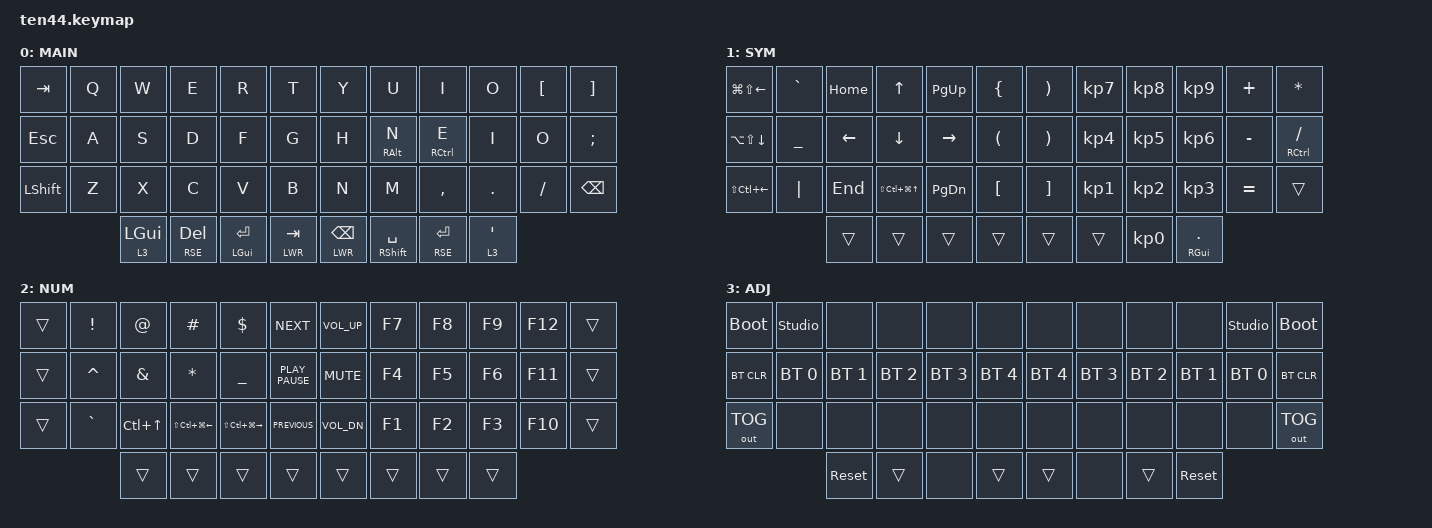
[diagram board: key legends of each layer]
/*
 * Copyright (c) 2020 The ZMK Contributors
 *
 * SPDX-License-Identifier: MIT
 */

#include <behaviors.dtsi>
#include <dt-bindings/zmk/bt.h>
#include <dt-bindings/zmk/keys.h>
#include <dt-bindings/zmk/outputs.h>

#define DEF 0
#define LWR 1
#define RSE 2
#define ADJ 3

&lt { quick-tap-ms = <200>; }; 
&mt { quick-tap-ms = <200>; };

/ {
    conditional_layers {
        compatible = "zmk,conditional-layers";

        tri_layer {
            if-layers = <LWR RSE>;
            then-layer = <ADJ>;
        };
    };

    keymap {
        compatible = "zmk,keymap";

        default_layer {
            display-name = "MAIN";

// ┏━━━━━━━━━━━┳━━━━━━━━━━━┳━━━━━━━━━━━┳━━━━━━━━━━━┳━━━━━━━━━━━┓━━━━━━━━━━━┓                              ┏━━━━━━━━━━━┳━━━━━━━━━━━┳━━━━━━━━━━━┳━━━━━━━━━━━┳━━━━━━━━━━━┳━━━━━━━━━━━┓
// ┃     TAB   ┃     Q     ┃     W     ┃     R     ┃     T     ┃     Y     ┃                              ┃     J     ┃     L     ┃     U     ┃     Y     ┃     [     ┃    ]      ┃
// ┣━━━━━━━━━━━╋━━━━━━━━━━━╋━━━━━━━━━━━╋━━━━━━━━━━━╋━━━━━━━━━━━┫━━━━━━━━━━━┫                              ┣━━━━━━━━━━━╋━━━━━━━━━━━╋━━━━━━━━━━━╋━━━━━━━━━━━╋━━━━━━━━━━━╋━━━━━━━━━━━┫
// ┃     ESC   ┃     A     ┃     R     ┃     S     ┃     T     ┃     G     ┃                              ┃     H     ┃     N     ┃     E     ┃     I     ┃     O     ┃    ;      ┃
// ┣━━━━━━━━━━━╋━━━━━━━━━━━╋━━━━━━━━━━━╋━━━━━━━━━━━╋━━━━━━━━━━━╋━━━━━━━━━━━┫                              ┣━━━━━━━━━━━╋━━━━━━━━━━━╋━━━━━━━━━━━╋━━━━━━━━━━━╋━━━━━━━━━━━╋━━━━━━━━━━━┫
// ┃  L_SHIFT  ┃     Z     ┃     X     ┃     C     ┃     D     ┃     V     ┃                              ┃     K     ┃     M     ┃     ,     ┃     .     ┃     /     ┃   BKSPC   ┃
// ┗━━━━━━━━━━━┻━━━━━━━━━━━╋━━━━━━━━━━━╋━━━━━━━━━━━╋━━━━━━━━━━━╋━━━━━━━━━━━╋━━━━━━━━━━━┓      ┏━━━━━━━━━━━╋━━━━━━━━━━━╋━━━━━━━━━━━╋━━━━━━━━━━━╋━━━━━━━━━━━╋━━━━━━━━━━━┻━━━━━━━━━━━┛
//                         ┃    ⌘/L3   ┃           ┃   DEL/L2  ┃    ENT/⌘  ┃   TAB/L1  ┃      ┃  BKSPC/L1 ┃ SPC/R_SHFT┃   ENT/L2  ┃           ┃     '     ┃  
//                         ┗━━━━━━━━━━━┛           ┗━━━━━━━━━━━┻━━━━━━━━━━━┻━━━━━━━━━━━┛      ┗━━━━━━━━━━━┻━━━━━━━━━━━┻━━━━━━━━━━━┛           ┗━━━━━━━━━━━┛    
           bindings = <
&kp TAB     &kp Q  &kp W           &kp E        &kp R               &kp T          &kp Y              &kp U            &kp I          &kp O               &kp LEFT_BRACKET  &kp RIGHT_BRACKET
&kp ESC     &kp A  &kp S           &kp D        &kp F               &kp G          &kp H              &mt RIGHT_ALT N  &mt RCTRL E    &kp I               &kp O             &kp SEMICOLON
&kp LSHIFT  &kp Z  &kp X           &kp C        &kp V               &kp B          &kp N              &kp M            &kp COMMA      &kp DOT             &kp FSLH          &kp BACKSPACE
                   &lt 3 LEFT_GUI  &lt RSE DEL  &mt LEFT_GUI ENTER  &lt LWR TAB    &lt LWR BACKSPACE  &mt RSHFT SPACE  &lt RSE ENTER  &lt 3 SINGLE_QUOTE
                   >;
        };

        lower_layer {
            display-name = "SYM";

// SL=Select Line;
// FL=Full Screen;
// ┏━━━━━━━━━━━┳━━━━━━━━━━━┳━━━━━━━━━━━┳━━━━━━━━━━━┳━━━━━━━━━━━┓━━━━━━━━━━━┓                              ┏━━━━━━━━━━━┳━━━━━━━━━━━┳━━━━━━━━━━━┳━━━━━━━━━━━┳━━━━━━━━━━━┳━━━━━━━━━━━┓
// ┃  SL_Left  ┃     `     ┃    HOME   ┃     UP    ┃   PG_UP   ┃     {     ┃                              ┃     }     ┃     7     ┃     8     ┃     9     ┃     +     ┃    *      ┃
// ┣━━━━━━━━━━━╋━━━━━━━━━━━╋━━━━━━━━━━━╋━━━━━━━━━━━╋━━━━━━━━━━━┫━━━━━━━━━━━┫                              ┣━━━━━━━━━━━╋━━━━━━━━━━━╋━━━━━━━━━━━╋━━━━━━━━━━━╋━━━━━━━━━━━╋━━━━━━━━━━━┫
// ┃  SL_Down  ┃     _     ┃    LEFT   ┃    DOWN   ┃   RIGHT   ┃     (     ┃                              ┃     )     ┃     4     ┃     5     ┃     6     ┃     -     ┃    /      ┃
// ┣━━━━━━━━━━━╋━━━━━━━━━━━╋━━━━━━━━━━━╋━━━━━━━━━━━╋━━━━━━━━━━━╋━━━━━━━━━━━┫                              ┣━━━━━━━━━━━╋━━━━━━━━━━━╋━━━━━━━━━━━╋━━━━━━━━━━━╋━━━━━━━━━━━╋━━━━━━━━━━━┫
// ┃  SL_Right ┃     |     ┃    END    ┃     FS    ┃   PG_DN   ┃     [     ┃                              ┃     ]     ┃     1     ┃     2     ┃     3     ┃     =     ┃           ┃
// ┗━━━━━━━━━━━┻━━━━━━━━━━━╋━━━━━━━━━━━╋━━━━━━━━━━━╋━━━━━━━━━━━╋━━━━━━━━━━━╋━━━━━━━━━━━┓      ┏━━━━━━━━━━━╋━━━━━━━━━━━╋━━━━━━━━━━━╋━━━━━━━━━━━╋━━━━━━━━━━━╋━━━━━━━━━━━┻━━━━━━━━━━━┛
//                         ┃           ┃           ┃           ┃           ┃           ┃      ┃           ┃           ┃     0     ┃           ┃     .     ┃  
//                         ┗━━━━━━━━━━━┛           ┗━━━━━━━━━━━┻━━━━━━━━━━━┻━━━━━━━━━━━┛      ┗━━━━━━━━━━━┻━━━━━━━━━━━┻━━━━━━━━━━━┛           ┗━━━━━━━━━━━┛    

            bindings = <
&kp LG(LS(LEFT))  &kp GRAVE       &kp HOME  &kp UP              &kp PAGE_UP    &kp LEFT_BRACE          &kp RIGHT_PARENTHESIS  &kp KP_N7        &kp KP_N8        &kp KP_NUMBER_9  &kp PLUS   &kp ASTERISK
&kp LA(LS(DOWN))  &kp UNDERSCORE  &kp LEFT  &kp DOWN            &kp RIGHT      &kp LEFT_PARENTHESIS    &kp RIGHT_PARENTHESIS  &kp KP_NUMBER_4  &kp KP_NUMBER_5  &kp KP_NUMBER_6  &kp MINUS  &mt RCTRL FSLH
&kp LS(LC(LEFT))  &kp PIPE        &kp END   &kp LS(LC(LG(UP)))  &kp PAGE_DOWN  &kp LEFT_BRACKET        &kp RIGHT_BRACKET      &kp KP_NUMBER_1  &kp KP_NUMBER_2  &kp KP_NUMBER_3  &kp EQUAL  &trans
                                  &trans    &trans              &trans         &trans                  &trans                 &trans           &kp KP_NUMBER_0  &mt RGUI PERIOD
            >;
        };

        raise_layer {
            display-name = "NUM";

// ST=Screen Tab;
// SS=Split Screen;
// ┏━━━━━━━━━━━┳━━━━━━━━━━━┳━━━━━━━━━━━┳━━━━━━━━━━━┳━━━━━━━━━━━┓━━━━━━━━━━━┓                              ┏━━━━━━━━━━━┳━━━━━━━━━━━┳━━━━━━━━━━━┳━━━━━━━━━━━┳━━━━━━━━━━━┳━━━━━━━━━━━┓
// ┃           ┃     !     ┃      @    ┃      #    ┃     $     ┃     >>    ┃                              ┃  VOL_UP   ┃     F7    ┃     F8    ┃     F9    ┃     F10   ┃    *      ┃
// ┣━━━━━━━━━━━╋━━━━━━━━━━━╋━━━━━━━━━━━╋━━━━━━━━━━━╋━━━━━━━━━━━┫━━━━━━━━━━━┫                              ┣━━━━━━━━━━━╋━━━━━━━━━━━╋━━━━━━━━━━━╋━━━━━━━━━━━╋━━━━━━━━━━━╋━━━━━━━━━━━┫
// ┃           ┃     ^     ┃      &    ┃      *    ┃     _     ┃ Play/Pause┃                              ┃   MUTE    ┃     F4    ┃     F5    ┃     F6    ┃     F11   ┃    /      ┃
// ┣━━━━━━━━━━━╋━━━━━━━━━━━╋━━━━━━━━━━━╋━━━━━━━━━━━╋━━━━━━━━━━━╋━━━━━━━━━━━┫                              ┣━━━━━━━━━━━╋━━━━━━━━━━━╋━━━━━━━━━━━╋━━━━━━━━━━━╋━━━━━━━━━━━╋━━━━━━━━━━━┫
// ┃           ┃     `     ┃     ST    ┃  SS_Left  ┃ SS_Right  ┃    <<     ┃                              ┃   VOL_DN  ┃     F1    ┃     F2    ┃     F3    ┃     F12   ┃           ┃
// ┗━━━━━━━━━━━┻━━━━━━━━━━━╋━━━━━━━━━━━╋━━━━━━━━━━━╋━━━━━━━━━━━╋━━━━━━━━━━━╋━━━━━━━━━━━┓      ┏━━━━━━━━━━━╋━━━━━━━━━━━╋━━━━━━━━━━━╋━━━━━━━━━━━╋━━━━━━━━━━━╋━━━━━━━━━━━┻━━━━━━━━━━━┛
//                         ┃           ┃           ┃           ┃           ┃           ┃      ┃           ┃           ┃           ┃           ┃           ┃  
//                         ┗━━━━━━━━━━━┛           ┗━━━━━━━━━━━┻━━━━━━━━━━━┻━━━━━━━━━━━┛      ┗━━━━━━━━━━━┻━━━━━━━━━━━┻━━━━━━━━━━━┛           ┗━━━━━━━━━━━┛    
            bindings = <
&trans  &kp EXCLAMATION  &kp AT_SIGN    &kp HASH              &kp DOLLAR             &kp C_NEXT          &kp C_VOL_UP  &kp F7  &kp F8  &kp F9  &kp F12  &trans
&trans  &kp CARET        &kp AMPERSAND  &kp ASTERISK          &kp UNDERSCORE         &kp K_PLAY_PAUSE    &kp C_MUTE    &kp F4  &kp F5  &kp F6  &kp F11  &trans
&trans  &kp GRAVE        &kp LC(UP)     &kp LS(LC(LG(LEFT)))  &kp LS(LC(LG(RIGHT)))  &kp K_PREVIOUS      &kp C_VOL_DN  &kp F1  &kp F2  &kp F3  &kp F10  &trans
                         &trans         &trans                &trans                 &trans              &trans        &trans  &trans  &trans
            >;
        };

        adjust_layer {
            display-name = "ADJ";

// ┏━━━━━━━━━━━┳━━━━━━━━━━━┳━━━━━━━━━━━┳━━━━━━━━━━━┳━━━━━━━━━━━┓━━━━━━━━━━━┓                              ┏━━━━━━━━━━━┳━━━━━━━━━━━┳━━━━━━━━━━━┳━━━━━━━━━━━┳━━━━━━━━━━━┳━━━━━━━━━━━┓
// ┃Bootloader ┃StdoUnlock ┃           ┃           ┃           ┃           ┃                              ┃           ┃           ┃           ┃           ┃StdoUnlock ┃ Bootloader┃
// ┣━━━━━━━━━━━╋━━━━━━━━━━━╋━━━━━━━━━━━╋━━━━━━━━━━━╋━━━━━━━━━━━┫━━━━━━━━━━━┫                              ┣━━━━━━━━━━━╋━━━━━━━━━━━╋━━━━━━━━━━━╋━━━━━━━━━━━╋━━━━━━━━━━━╋━━━━━━━━━━━┫
// ┃   BT_CL   ┃     BT0   ┃     BT1   ┃    BT2    ┃    BT3    ┃    BT4    ┃                              ┃    BT4    ┃    BT3    ┃    BT2    ┃    BT1    ┃     BT0   ┃   BT_CLR  ┃
// ┣━━━━━━━━━━━╋━━━━━━━━━━━╋━━━━━━━━━━━╋━━━━━━━━━━━╋━━━━━━━━━━━╋━━━━━━━━━━━┫                              ┣━━━━━━━━━━━╋━━━━━━━━━━━╋━━━━━━━━━━━╋━━━━━━━━━━━╋━━━━━━━━━━━╋━━━━━━━━━━━┫
// ┃ SWITCH OUT┃           ┃           ┃           ┃           ┃           ┃                              ┃           ┃           ┃           ┃           ┃           ┃ SWITCH OUT┃
// ┗━━━━━━━━━━━┻━━━━━━━━━━━╋━━━━━━━━━━━╋━━━━━━━━━━━╋━━━━━━━━━━━╋━━━━━━━━━━━╋━━━━━━━━━━━┓      ┏━━━━━━━━━━━╋━━━━━━━━━━━╋━━━━━━━━━━━╋━━━━━━━━━━━╋━━━━━━━━━━━╋━━━━━━━━━━━┻━━━━━━━━━━━┛
//                         ┃           ┃           ┃           ┃           ┃           ┃      ┃           ┃           ┃           ┃           ┃           ┃  
//                         ┗━━━━━━━━━━━┛           ┗━━━━━━━━━━━┻━━━━━━━━━━━┻━━━━━━━━━━━┛      ┗━━━━━━━━━━━┻━━━━━━━━━━━┻━━━━━━━━━━━┛           ┗━━━━━━━━━━━┛    

            bindings = <
&bootloader   &studio_unlock  &none         &none         &none         &none           &none         &none         &none         &none         &studio_unlock  &bootloader
&bt BT_CLR    &bt BT_SEL 0    &bt BT_SEL 1  &bt BT_SEL 2  &bt BT_SEL 3  &bt BT_SEL 4    &bt BT_SEL 4  &bt BT_SEL 3  &bt BT_SEL 2  &bt BT_SEL 1  &bt BT_SEL 0    &bt BT_CLR
&out OUT_TOG  &none           &none         &none         &none         &none           &none         &none         &none         &none         &none           &out OUT_TOG
                              &sys_reset    &trans        &none         &trans          &trans        &none         &trans        &sys_reset
            >;
        };

        extra1 {
            status = "reserved";
        };

        extra2 {
            status = "reserved";
        };

        extra3 {
            status = "reserved";
        };
    };
};
